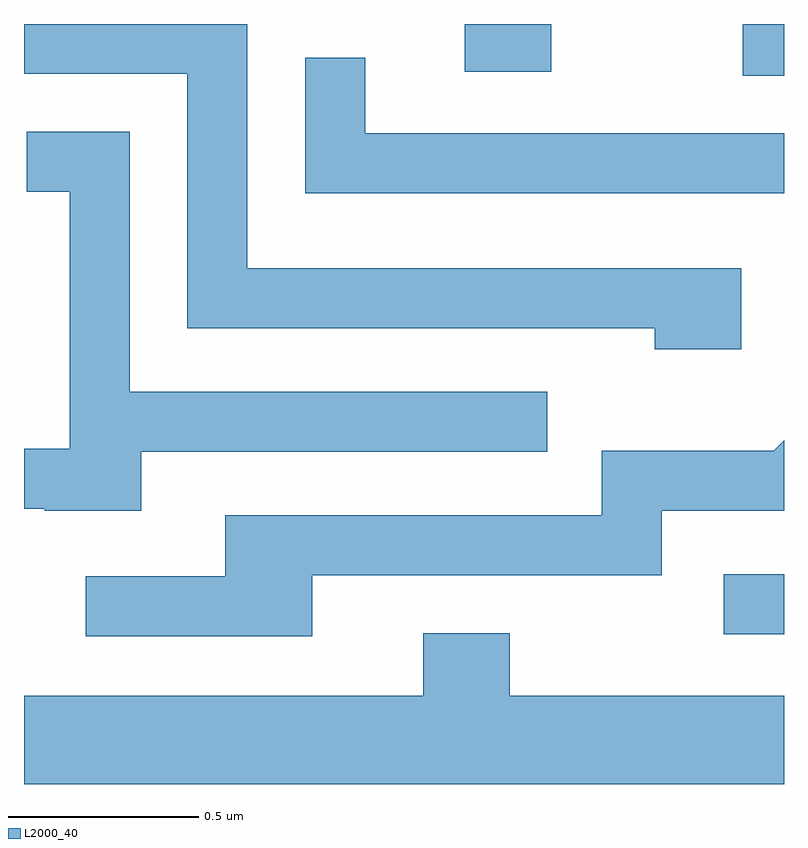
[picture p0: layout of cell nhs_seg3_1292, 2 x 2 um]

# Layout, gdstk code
import gdstk
lib = gdstk.Library(unit=1e-6, precision=1e-09)
def R(c, l, rs):  # rectangles x0, y0, x1, y1
    for r in rs: c.add(gdstk.rectangle(r[:2], r[2:], *l))
def P(c, l, *ps):  # polygons
    for p in ps: c.add(gdstk.Polygon(p, *l))
L2000_40 = (2000, 40)

nhs_seg3_1292 = lib.new_cell('nhs_seg3_1292')
R(nhs_seg3_1292, L2000_40, [(196.453,1175.286,196.611,1175.444), (196.503,1176.756,196.611,1176.892), (195.771,1176.766,195.999,1176.892)])
P(nhs_seg3_1292, L2000_40, [(196.499,1176.249),(195.199,1176.249),(195.199,1176.892),(194.611,1176.892),(194.611,1176.761),(195.041,1176.761),(195.041,1176.091),(196.271,1176.091),(196.271,1176.036),(196.499,1176.036)],
  [(196.611,1176.604),(195.509,1176.604),(195.509,1176.803),(195.351,1176.803),(195.351,1176.446),(196.611,1176.446)],
  [(194.919,1175.766),(195.988,1175.766),(195.988,1175.924),(194.889,1175.924),(194.889,1176.609),(194.618,1176.609),(194.618,1176.451),(194.731,1176.451),(194.731,1175.774),(194.611,1175.774),(194.611,1175.616),(194.665,1175.616),(194.665,1175.611),(194.919,1175.611)],
  [(195.369,1175.441),(196.289,1175.441),(196.289,1175.611),(196.611,1175.611),(196.611,1175.796),(196.584,1175.769),(196.131,1175.769),(196.131,1175.599),(195.141,1175.599),(195.141,1175.439),(194.773,1175.439),(194.773,1175.281),(195.369,1175.281)],
  [(196.611,1175.124),(195.889,1175.124),(195.889,1175.289),(195.661,1175.289),(195.661,1175.124),(194.611,1175.124),(194.611,1174.892),(196.611,1174.892)])

lib.write_gds('nhs_seg3_1292.gds')
